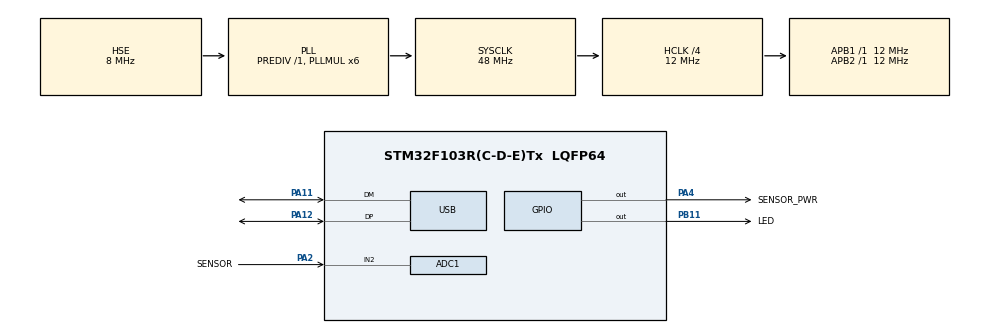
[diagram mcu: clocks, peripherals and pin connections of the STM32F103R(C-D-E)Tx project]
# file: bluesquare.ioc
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ADC1.Channel-1\#ChannelRegularConversion=ADC_CHANNEL_2
ADC1.NbrOfConversionFlag=1
ADC1.Rank-1\#ChannelRegularConversion=1
ADC1.SamplingTime-1\#ChannelRegularConversion=ADC_SAMPLETIME_1CYCLE_5
ADC1.master=1
Mcu.Family=STM32F1
Mcu.Name=STM32F103R(C-D-E)Tx
Mcu.Package=LQFP64
NVIC.PriorityGroup=NVIC_PRIORITYGROUP_4
NVIC.TIM2_IRQn=true\:0\:0\:false\:false\:true\:true\:true\:true
NVIC.USB_LP_CAN1_RX0_IRQn=true\:0\:0\:false\:false\:true\:false\:true\:true
PA11.Mode=Device
PA11.Signal=USB_DM
PA12.Mode=Device
PA12.Signal=USB_DP
PA13.Mode=Serial_Wire
PA13.Signal=SYS_JTMS-SWDIO
PA14.Mode=Serial_Wire
PA14.Signal=SYS_JTCK-SWCLK
PA2.GPIO_Label=SENSOR
PA2.Signal=ADCx_IN2
PA4.GPIO_Label=SENSOR_PWR
PA4.Signal=GPIO_Output
PB11.GPIO_Label=LED
PB11.Signal=GPIO_Output
PC14-OSC32_IN.Mode=LSE-External-Oscillator
PC14-OSC32_IN.Signal=RCC_OSC32_IN
PC15-OSC32_OUT.Mode=LSE-External-Oscillator
PC15-OSC32_OUT.Signal=RCC_OSC32_OUT
PD0-OSC_IN.Mode=HSE-External-Oscillator
PD0-OSC_IN.Signal=RCC_OSC_IN
PD1-OSC_OUT.Mode=HSE-External-Oscillator
PD1-OSC_OUT.Signal=RCC_OSC_OUT
ProjectManager.HeapSize=0x200
ProjectManager.StackSize=0x400
ProjectManager.TargetToolchain=CMake
RCC.AHBCLKDivider=RCC_SYSCLK_DIV4
RCC.AHBFreq_Value=12000000
RCC.APB1Freq_Value=12000000
RCC.APB1TimFreq_Value=12000000
RCC.APB2Freq_Value=12000000
RCC.APB2TimFreq_Value=12000000
RCC.HCLKFreq_Value=12000000
RCC.PLLMUL=RCC_PLL_MUL6
RCC.PLLSourceVirtual=RCC_PLLSOURCE_HSE
RCC.SYSCLKFreq_VALUE=48000000
RCC.SYSCLKSource=RCC_SYSCLKSOURCE_PLLCLK
RCC.USBFreq_Value=48000000
SH.ADCx_IN2.0=ADC1_IN2,IN2
TIM2.Period=1000-1
TIM2.Prescaler=12000-1
USB_DEVICE.CLASS_NAME_FS=CDC
USB_DEVICE.VirtualMode=Cdc
USB_DEVICE.VirtualModeFS=Cdc_FS
VP_TIM2_VS_ClockSourceINT.Mode=Internal
VP_USB_DEVICE_VS_USB_DEVICE_CDC_FS.Mode=CDC_FS
board=custom

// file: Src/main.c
/* USER CODE BEGIN Header */
/**
  ******************************************************************************
  * @file           : main.c
  * @brief          : Main program body
  ******************************************************************************
  * @attention
  *
  * Copyright (c) 2024 STMicroelectronics.
  * All rights reserved.
  *
  * This software is licensed under terms that can be found in the LICENSE file
  * in the root directory of this software component.
  * If no LICENSE file comes with this software, it is provided AS-IS.
  *
  ******************************************************************************
  */
/* USER CODE END Header */
#include "main.h"
#include "usb_device.h"

/* USER CODE BEGIN Includes */
#include "moisture_sensor.h"
#include "usbd_cdc_if.h"

/* USER CODE END Includes */

ADC_HandleTypeDef hadc1;

TIM_HandleTypeDef htim2;

/* USER CODE BEGIN PV */
volatile uint32_t moistureLevel = 0;
/* USER CODE END PV */

void SystemClock_Config(void);
static void MX_GPIO_Init(void);
static void MX_TIM2_Init(void);
static void MX_ADC1_Init(void);

/* USER CODE BEGIN 0 */
void HAL_TIM_PeriodElapsedCallback(TIM_HandleTypeDef *htim)
{
    static uint16_t counter1sec = 0;
    if (htim->Instance == TIM2)
    {
        if (++counter1sec == 100)
        {
            counter1sec = 0;
            moistureLevel = GetMoisture();
        }
        if (moistureLevel < 1000)
        {
          HAL_GPIO_TogglePin(LED_GPIO_Port, LED_Pin);
        }
        else
        {
          HAL_GPIO_WritePin(LED_GPIO_Port, LED_Pin, GPIO_PIN_RESET);
        }
    }
}
/* USER CODE END 0 */

int main(void)
{

  /* MCU Configuration--------------------------------------------------------*/

  /* Reset of all peripherals, Initializes the Flash interface and the Systick. */
  HAL_Init();

  /* Configure the system clock */
  SystemClock_Config();

  /* Initialize all configured peripherals */
  MX_GPIO_Init();
  MX_TIM2_Init();
  MX_ADC1_Init();
  MX_USB_DEVICE_Init();
  /* USER CODE BEGIN 2 */
  HAL_TIM_Base_Start_IT(&htim2);
  uint8_t TxBuffer[100];
  /* USER CODE END 2 */

  /* Infinite loop */
  /* USER CODE BEGIN WHILE */
  while (1)
  {
     // Reset the buffer content
      memset(TxBuffer, 0, sizeof(TxBuffer));
      size_t bufferSize = snprintf((char *)TxBuffer, sizeof(TxBuffer), "Moisture reading = %lu\n\r", moistureLevel);

      CDC_Transmit_FS(TxBuffer, bufferSize);
      HAL_Delay(1000);
    /* USER CODE END WHILE */

  }
}

void SystemClock_Config(void)
{
  RCC_OscInitTypeDef RCC_OscInitStruct = {0};
  RCC_ClkInitTypeDef RCC_ClkInitStruct = {0};
  RCC_PeriphCLKInitTypeDef PeriphClkInit = {0};

  /** Initializes the RCC Oscillators according to the specified parameters
  * in the RCC_OscInitTypeDef structure.
  */
  RCC_OscInitStruct.OscillatorType = RCC_OSCILLATORTYPE_HSE;
  RCC_OscInitStruct.HSEState = RCC_HSE_ON;
  RCC_OscInitStruct.HSEPredivValue = RCC_HSE_PREDIV_DIV1;
  RCC_OscInitStruct.HSIState = RCC_HSI_ON;
  RCC_OscInitStruct.PLL.PLLState = RCC_PLL_ON;
  RCC_OscInitStruct.PLL.PLLSource = RCC_PLLSOURCE_HSE;
  RCC_OscInitStruct.PLL.PLLMUL = RCC_PLL_MUL6;
  if (HAL_RCC_OscConfig(&RCC_OscInitStruct) != HAL_OK)
  {
    Error_Handler();
  }

  /** Initializes the CPU, AHB and APB buses clocks
  */
  RCC_ClkInitStruct.ClockType = RCC_CLOCKTYPE_HCLK|RCC_CLOCKTYPE_SYSCLK
                              |RCC_CLOCKTYPE_PCLK1|RCC_CLOCKTYPE_PCLK2;
  RCC_ClkInitStruct.SYSCLKSource = RCC_SYSCLKSOURCE_PLLCLK;
  RCC_ClkInitStruct.AHBCLKDivider = RCC_SYSCLK_DIV4;
  RCC_ClkInitStruct.APB1CLKDivider = RCC_HCLK_DIV1;
  RCC_ClkInitStruct.APB2CLKDivider = RCC_HCLK_DIV1;

  if (HAL_RCC_ClockConfig(&RCC_ClkInitStruct, FLASH_LATENCY_1) != HAL_OK)
  {
    Error_Handler();
  }
  PeriphClkInit.PeriphClockSelection = RCC_PERIPHCLK_ADC|RCC_PERIPHCLK_USB;
  PeriphClkInit.AdcClockSelection = RCC_ADCPCLK2_DIV2;
  PeriphClkInit.UsbClockSelection = RCC_USBCLKSOURCE_PLL;
  if (HAL_RCCEx_PeriphCLKConfig(&PeriphClkInit) != HAL_OK)
  {
    Error_Handler();
  }
}

static void MX_ADC1_Init(void)
{

  ADC_ChannelConfTypeDef sConfig = {0};

  /** Common config
  */
  hadc1.Instance = ADC1;
  hadc1.Init.ScanConvMode = ADC_SCAN_DISABLE;
  hadc1.Init.ContinuousConvMode = DISABLE;
  hadc1.Init.DiscontinuousConvMode = DISABLE;
  hadc1.Init.ExternalTrigConv = ADC_SOFTWARE_START;
  hadc1.Init.DataAlign = ADC_DATAALIGN_RIGHT;
  hadc1.Init.NbrOfConversion = 1;
  if (HAL_ADC_Init(&hadc1) != HAL_OK)
  {
    Error_Handler();
  }

  /** Configure Regular Channel
  */
  sConfig.Channel = ADC_CHANNEL_2;
  sConfig.Rank = ADC_REGULAR_RANK_1;
  sConfig.SamplingTime = ADC_SAMPLETIME_1CYCLE_5;
  if (HAL_ADC_ConfigChannel(&hadc1, &sConfig) != HAL_OK)
  {
    Error_Handler();
  }

}

static void MX_TIM2_Init(void)
{

  TIM_ClockConfigTypeDef sClockSourceConfig = {0};
  TIM_MasterConfigTypeDef sMasterConfig = {0};

  htim2.Instance = TIM2;
  htim2.Init.Prescaler = 12000-1;
  htim2.Init.CounterMode = TIM_COUNTERMODE_UP;
  htim2.Init.Period = 1000-1;
  htim2.Init.ClockDivision = TIM_CLOCKDIVISION_DIV1;
  htim2.Init.AutoReloadPreload = TIM_AUTORELOAD_PRELOAD_DISABLE;
  if (HAL_TIM_Base_Init(&htim2) != HAL_OK)
  {
    Error_Handler();
  }
  sClockSourceConfig.ClockSource = TIM_CLOCKSOURCE_INTERNAL;
  if (HAL_TIM_ConfigClockSource(&htim2, &sClockSourceConfig) != HAL_OK)
  {
    Error_Handler();
  }
  sMasterConfig.MasterOutputTrigger = TIM_TRGO_RESET;
  sMasterConfig.MasterSlaveMode = TIM_MASTERSLAVEMODE_DISABLE;
  if (HAL_TIMEx_MasterConfigSynchronization(&htim2, &sMasterConfig) != HAL_OK)
  {
    Error_Handler();
  }

}

static void MX_GPIO_Init(void)
{
  GPIO_InitTypeDef GPIO_InitStruct = {0};

  /* GPIO Ports Clock Enable */
  __HAL_RCC_GPIOC_CLK_ENABLE();
  __HAL_RCC_GPIOD_CLK_ENABLE();
  __HAL_RCC_GPIOA_CLK_ENABLE();
  __HAL_RCC_GPIOB_CLK_ENABLE();

  /*Configure GPIO pin Output Level */
  HAL_GPIO_WritePin(SENSOR_PWR_GPIO_Port, SENSOR_PWR_Pin, GPIO_PIN_RESET);

  /*Configure GPIO pin Output Level */
  HAL_GPIO_WritePin(LED_GPIO_Port, LED_Pin, GPIO_PIN_RESET);

  /*Configure GPIO pin : SENSOR_PWR_Pin */
  GPIO_InitStruct.Pin = SENSOR_PWR_Pin;
  GPIO_InitStruct.Mode = GPIO_MODE_OUTPUT_PP;
  GPIO_InitStruct.Pull = GPIO_NOPULL;
  GPIO_InitStruct.Speed = GPIO_SPEED_FREQ_LOW;
  HAL_GPIO_Init(SENSOR_PWR_GPIO_Port, &GPIO_InitStruct);

  /*Configure GPIO pin : LED_Pin */
  GPIO_InitStruct.Pin = LED_Pin;
  GPIO_InitStruct.Mode = GPIO_MODE_OUTPUT_PP;
  GPIO_InitStruct.Pull = GPIO_NOPULL;
  GPIO_InitStruct.Speed = GPIO_SPEED_FREQ_LOW;
  HAL_GPIO_Init(LED_GPIO_Port, &GPIO_InitStruct);

}

void Error_Handler(void)
{
  __disable_irq();
  while (1)
  {
  }
}
